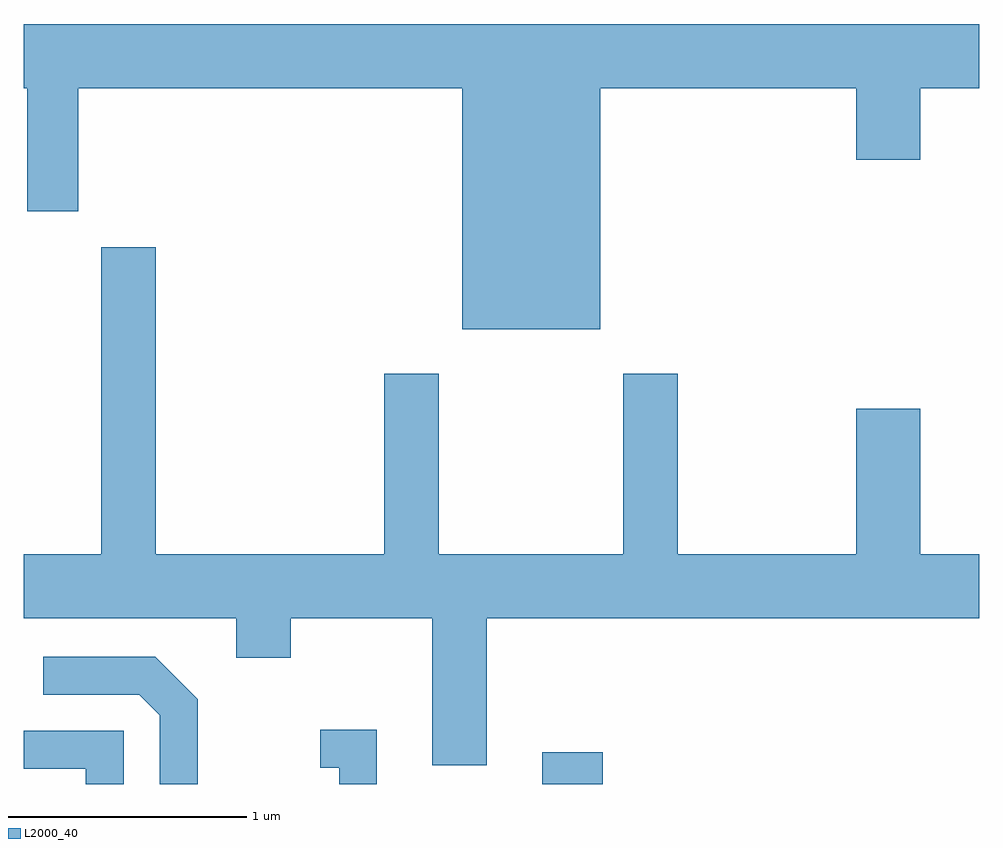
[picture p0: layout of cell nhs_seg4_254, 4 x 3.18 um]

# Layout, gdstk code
import gdstk
lib = gdstk.Library(unit=1e-6, precision=1e-09)
def R(c, l, rs):  # rectangles x0, y0, x1, y1
    for r in rs: c.add(gdstk.rectangle(r[:2], r[2:], *l))
def P(c, l, *ps):  # polygons
    for p in ps: c.add(gdstk.Polygon(p, *l))
L2000_40 = (2000, 40)

nhs_seg4_254 = lib.new_cell('nhs_seg4_254')
R(nhs_seg4_254, L2000_40, [(193.781,1353.982,194.034,1354.114)])
P(nhs_seg4_254, L2000_40, [(194.024,1356.896),(195.096,1356.896),(195.096,1356.596),(195.364,1356.596),(195.364,1356.896),(195.611,1356.896),(195.611,1357.164),(191.611,1357.164),(191.611,1356.896),(191.626,1356.896),(191.626,1356.381),(191.839,1356.381),(191.839,1356.896),(193.446,1356.896),(193.446,1355.886),(194.024,1355.886)],
  [(193.549,1354.676),(195.611,1354.676),(195.611,1354.944),(195.364,1354.944),(195.364,1355.554),(195.096,1355.554),(195.096,1354.944),(194.349,1354.944),(194.349,1355.699),(194.121,1355.699),(194.121,1354.944),(193.349,1354.944),(193.349,1355.699),(193.121,1355.699),(193.121,1354.944),(192.164,1354.944),(192.164,1356.229),(191.936,1356.229),(191.936,1354.944),(191.611,1354.944),(191.611,1354.676),(192.501,1354.676),(192.501,1354.511),(192.729,1354.511),(192.729,1354.676),(193.321,1354.676),(193.321,1354.061),(193.549,1354.061)],
  [(192.339,1354.337),(192.162,1354.514),(191.693,1354.514),(191.693,1354.356),(192.094,1354.356),(192.181,1354.269),(192.181,1353.982),(192.339,1353.982)],
  [(193.089,1354.209),(192.853,1354.209),(192.853,1354.051),(192.931,1354.051),(192.931,1353.982),(193.089,1353.982)],
  [(192.029,1354.204),(191.611,1354.204),(191.611,1354.046),(191.871,1354.046),(191.871,1353.982),(192.029,1353.982)])

lib.write_gds('nhs_seg4_254.gds')
